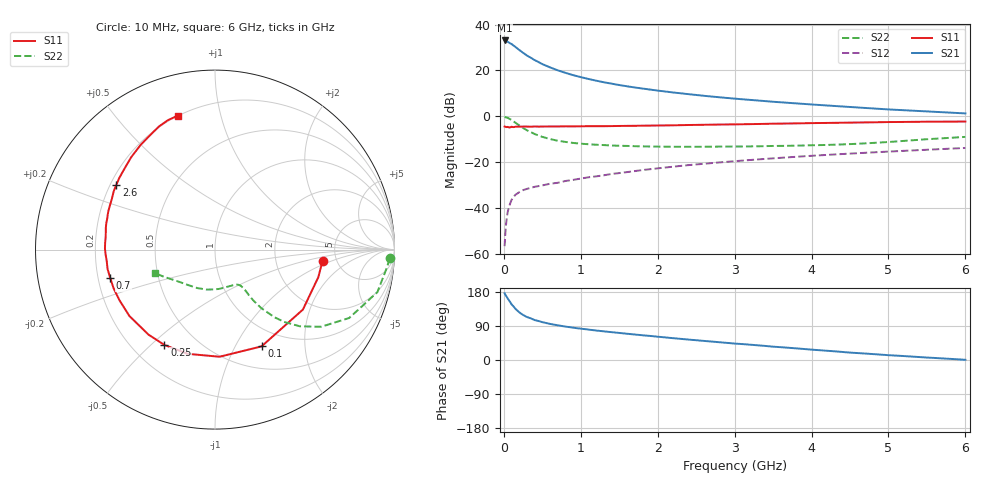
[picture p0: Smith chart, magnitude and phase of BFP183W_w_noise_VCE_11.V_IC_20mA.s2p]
! Infineon Technologies  Discrete & RF Semiconductors
! BFP183W
! VCE =  11. V,  IC =  20 mA
! Common Emitter S-Parameters:  Jan 2017
# GHz  S  MA  R  50
!  f  S11  S21  S12  S22
! GHz  MAG  ANG  MAG  ANG  MAG  ANG  MAG  ANG
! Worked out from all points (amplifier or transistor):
!   77 points, 10 MHz to 6 GHz, reference 50 ohm
!   highest |S21| = 33.1 dB at 10 MHz (marker M1)
!   |S21| within 3 dB of that: start of sweep to 157.6 MHz
!   unconditionally stable (mu >= 1): 1.238 GHz to 3.622 GHz
!   at 130 MHz: K = 0.23, MSG = 32.9 dB, |S12| = -35.0 dB
!   at 2.2 GHz: K = 1.06, MAG = 14.6 dB, |S12| = -21.9 dB
!   at 6 GHz: K = 0.86, MSG = 7.5 dB, |S12| = -13.7 dB
!   lowest NFmin = 1.17 dB at 450 MHz
!   S11 on the Smith chart (normalised r, x): 10 MHz: 3.89, -0.74; 100 MHz: 0.77, -1.29; 250 MHz: 0.33, -0.55; 700 MHz: 0.25, -0.12; 2.6 GHz: 0.22, +0.28; 6 GHz: 0.20, +0.74
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0.01  0.603 -5.8  45.02 176.2  0.0015 76.6  0.9748 -2.9
0.02  0.5957 -15.0  44.2 172.1  0.0029 83.3  0.9632 -5.9
0.05  0.5929 -34.3  42.29 162.2  0.0083 69.8  0.9353 -14.7
0.1  0.5984 -64.3  37.73 147.0  0.0152 65.9  0.8392 -27.0
0.15  0.5975 -87.6  32.62 135.2  0.0197 56.6  0.7314 -36.0
0.2  0.6005 -104.8  28.01 125.9  0.0224 51.2  0.6376 -42.1
0.25  0.6013 -118.0  24.27 118.8  0.0249 48.0  0.5608 -46.1
0.3  0.6014 -128.0  21.19 113.5  0.0265 45.9  0.4996 -48.8
0.4  0.6036 -142.2  16.81 105.4  0.0294 44.7  0.4137 -51.7
0.5  0.6024 -152.0  13.78 99.9  0.0315 45.4  0.359 -52.9
0.6  0.6048 -159.2  11.69 95.3  0.0343 46.5  0.322 -53.4
0.7  0.6048 -164.9  10.09 91.6  0.0359 48.3  0.2959 -53.3
0.9  0.6066 -174.0  7.92 85.3  0.0416 51.1  0.265 -53.8
1.1  0.6132 179.5  6.534 80.3  0.0474 53.1  0.2482 -54.5
1.3  0.613 173.6  5.543 75.6  0.0524 54.4  0.2379 -56.0
1.5  0.6201 168.8  4.822 71.4  0.0585 55.6  0.2299 -58.2
2.1  0.637 155.8  3.484 59.6  0.0773 57.1  0.2194 -68.2
2.6  0.6578 146.8  2.813 50.4  0.0932 56.4  0.2186 -79.9
3.1  0.6756 138.5  2.364 42.0  0.1093 54.8  0.2216 -92.0
4.1  0.7183 124.3  1.776 25.9  0.1422 50.3  0.2374 -117.5
5.1  0.7561 113.5  1.392 11.6  0.1749 44.9  0.2852 -143.6
6  0.7743 105.5  1.163 0.5  0.206 39.2  0.3584 -158.4
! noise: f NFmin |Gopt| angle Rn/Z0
0.45  1.17  0.2  171  0.1
0.9  1.2  0.25  174  0.09
1.9  1.68  0.41  -163  0.08
2.4  1.92  0.45  -157  0.12
